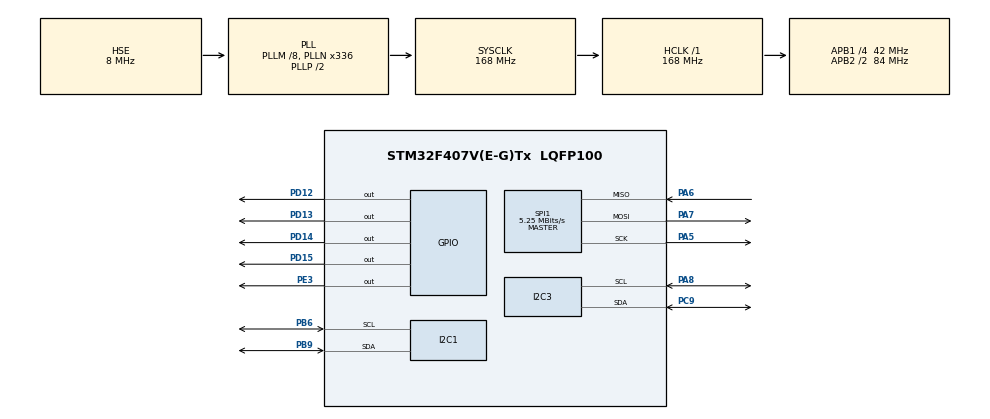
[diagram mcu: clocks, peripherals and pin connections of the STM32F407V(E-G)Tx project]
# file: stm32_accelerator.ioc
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Mcu.Family=STM32F4
Mcu.Name=STM32F407V(E-G)Tx
Mcu.Package=LQFP100
NVIC.PriorityGroup=NVIC_PRIORITYGROUP_4
PA5.Mode=Full_Duplex_Master
PA5.Signal=SPI1_SCK
PA6.Mode=Full_Duplex_Master
PA6.Signal=SPI1_MISO
PA7.Mode=Full_Duplex_Master
PA7.Signal=SPI1_MOSI
PA8.Mode=I2C
PA8.Signal=I2C3_SCL
PB6.Mode=I2C
PB6.Signal=I2C1_SCL
PB9.Mode=I2C
PB9.Signal=I2C1_SDA
PC9.Mode=I2C
PC9.Signal=I2C3_SDA
PD12.Signal=GPIO_Output
PD13.Signal=GPIO_Output
PD14.Signal=GPIO_Output
PD15.Signal=GPIO_Output
PE3.PinState=GPIO_PIN_SET
PE3.Signal=GPIO_Output
PH0-OSC_IN.Mode=HSE-External-Oscillator
PH0-OSC_IN.Signal=RCC_OSC_IN
PH1-OSC_OUT.Mode=HSE-External-Oscillator
PH1-OSC_OUT.Signal=RCC_OSC_OUT
ProjectManager.HeapSize=0x200
ProjectManager.StackSize=0x400
ProjectManager.TargetToolchain=STM32CubeIDE
RCC.48MHZClocksFreq_Value=84000000
RCC.AHBFreq_Value=168000000
RCC.APB1CLKDivider=RCC_HCLK_DIV4
RCC.APB1Freq_Value=42000000
RCC.APB1TimFreq_Value=84000000
RCC.APB2CLKDivider=RCC_HCLK_DIV2
RCC.APB2Freq_Value=84000000
RCC.APB2TimFreq_Value=168000000
RCC.CortexFreq_Value=168000000
RCC.HCLKFreq_Value=168000000
RCC.HSE_VALUE=8000000
RCC.HSI_VALUE=16000000
RCC.LSE_VALUE=32768
RCC.PLLM=8
RCC.PLLN=336
RCC.PLLSourceVirtual=RCC_PLLSOURCE_HSE
RCC.SYSCLKFreq_VALUE=168000000
RCC.SYSCLKSource=RCC_SYSCLKSOURCE_PLLCLK
RCC.VCOOutputFreq_Value=336000000
SPI1.BaudRatePrescaler=SPI_BAUDRATEPRESCALER_16
SPI1.CalculateBaudRate=5.25 MBits/s
SPI1.Direction=SPI_DIRECTION_2LINES
SPI1.Mode=SPI_MODE_MASTER
SPI1.VirtualType=VM_MASTER
board=custom

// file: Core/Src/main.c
/* USER CODE BEGIN Header */
/**
  ******************************************************************************
  * @file           : main.c
  * @brief          : Main program body
  ******************************************************************************
  * @attention
  *
  * Copyright (c) 2022 STMicroelectronics.
  * All rights reserved.
  *
  * This software is licensed under terms that can be found in the LICENSE file
  * in the root directory of this software component.
  * If no LICENSE file comes with this software, it is provided AS-IS.
  *
  ******************************************************************************
  */
/* USER CODE END Header */
#include "main.h"

/* USER CODE BEGIN PD */
#define XM_Tx			0
#define XM_TxRx			1
#define XM_Timeout		10
#define dummy           0xFF
#define NSS_DISABLE()   (GPIOE->ODR |= 0x0008)
#define NSS_ENABLE()    (GPIOE->ODR &= 0xFFF7)
#define MAX_TICK		30000
#define DS1307_ADDR		0xD0
#define DS1307_Timeout	10
#define DS3231_ADDR		0xD0
#define DS3231_Timeout	10
#define RTC_REG_SEC  0x00
#define RTC_REG_MIN  0x01
#define RTC_REG_HOUR 0x02
#define RTC_REG_WEEK 0x03
#define RTC_REG_DAY  0x04
#define RTC_REG_MON  0x05
#define RTC_REG_YEAR 0x06
#define RTC_ALARM    0x0A
#define RTC_24       0x40
/* USER CODE END PD */

I2C_HandleTypeDef hi2c1;
I2C_HandleTypeDef hi2c3;

SPI_HandleTypeDef hspi1;

/* USER CODE BEGIN PV */
uint8_t uMin = 0;
uint8_t uSec = 0;

/* USER CODE END PV */

void SystemClock_Config(void);
static void MX_GPIO_Init(void);
static void MX_SPI1_Init(void);
static void MX_I2C3_Init(void);
static void MX_I2C1_Init(void);
/* USER CODE BEGIN PFP */
uint8_t xmeet(uint8_t data, int read, uint32_t timeout);
uint8_t read_reg(uint8_t addr);
void write_reg(uint8_t addr, uint8_t data);
uint8_t ds1307_read(uint8_t addr);
void ds1307_write(uint8_t addr, uint8_t data);
uint8_t ds3231_read(uint8_t addr);
void ds3231_write(uint8_t addr, uint8_t data);
uint8_t bcd2dec(uint8_t);
uint8_t dec2bcd(uint8_t);
void set_time(int y, int m, int d, int h, int min, int s);
void set_alarm(int h, int m);
int8_t check_alarm();
/* USER CODE END PFP */

int main(void)
{
  /* USER CODE BEGIN 1 */
  uint8_t chipId = 0;
  uint16_t led3cnt = 0;
  uint16_t led4cnt = 0;
  uint16_t led5cnt = 0;
  uint16_t led6cnt = 0;
  uint16_t led3tm = 0;
  uint16_t led4tm = 0;
  uint16_t led5tm = 0;
  uint16_t led6tm = 0;
//  uint8_t accX = 0;
//  uint8_t accY = 0;
//  uint8_t delim = MAX_TICK / 127;

  /* USER CODE END 1 */

  /* MCU Configuration--------------------------------------------------------*/

  /* Reset of all peripherals, Initializes the Flash interface and the Systick. */
  HAL_Init();

  /* Configure the system clock */
  SystemClock_Config();

  /* Initialize all configured peripherals */
  MX_GPIO_Init();
  MX_SPI1_Init();
  MX_I2C3_Init();
  MX_I2C1_Init();
  /* USER CODE BEGIN 2 */

  chipId = read_reg(0x0F); // WHO_AM_I register;
//  write_reg(0x20, 0x47); // PD + Zen + Yen + Xen

  set_time(2022, 9, 1, 9, 0, 0);
  set_alarm(9, 1);

  /* USER CODE END 2 */

  /* Infinite loop */
  /* USER CODE BEGIN WHILE */
  while (1)
  {
	    if(++led3cnt > MAX_TICK) led3cnt = 0;
	    if(++led4cnt > MAX_TICK) led4cnt = 0;
	    if(++led5cnt > MAX_TICK) led5cnt = 0;
	    if(++led6cnt > MAX_TICK) led6cnt = 0;

	    if(check_alarm()) {
	    	led3tm = 20000;
	    	led6tm = 20000;
	    }

	    uMin = bcd2dec(ds3231_read(RTC_REG_MIN));
	    uSec = bcd2dec(ds3231_read(RTC_REG_SEC));
	    HAL_Delay(100);

//	    accX = read_reg(0x29);
//	    accY = read_reg(0x2B);
//	    // accZ = read_reg(0x2D);
//
//	    if(accX > 0 && accX < 255) {
//	    	if(accX < 128) {
//	    		led3tm = delim * accX;
//	    		led6tm = 0;
//	    	} else {
//	    		led6tm = delim * (accX - 127);
//	    		led3tm = 0;
//	    	}
//	    } else {
//	    	led6tm = 0;
//	    	led3tm = 0;
//	    }
//
//	    if(accY > 0 && accY < 255) {
//	    	if(accY < 128) {
//	    		led4tm = delim * accY;
//	    		led5tm = 0;
//	    	} else {
//	    		led5tm = delim * (accY - 127);
//	    		led4tm = 0;
//	    	}
//	    } else {
//	    	led4tm = 0;
//	    	led5tm = 0;
//	    }

	    // LD3
	    if(led3cnt == 0) {
	      GPIOD->ODR |= 0x2000;
	    } else if(led3cnt > led3tm) {
	      GPIOD->ODR &= ~0x2000;
	    }
	    // LD4
	    if(led4cnt == 0) {
	      GPIOD->ODR |= 0x1000;
	    } else if(led4cnt > led4tm) {
	      GPIOD->ODR &= ~0x1000;
	    }
	    // LD5
	    if(led5cnt == 0) {
	      GPIOD->ODR |= 0x4000;
	    } else if(led5cnt > led5tm) {
	      GPIOD->ODR &= ~0x4000;
	    }
	    // LD5
	    if(led6cnt == 0) {
	      GPIOD->ODR |= 0x8000;
	    } else if(led6cnt > led6tm) {
	      GPIOD->ODR &= ~0x8000;
	    }
    /* USER CODE END WHILE */

    /* USER CODE BEGIN 3 */
  }
  return 0;
  /* USER CODE END 3 */
}

void SystemClock_Config(void)
{
  RCC_OscInitTypeDef RCC_OscInitStruct = {0};
  RCC_ClkInitTypeDef RCC_ClkInitStruct = {0};

  /** Configure the main internal regulator output voltage
  */
  __HAL_RCC_PWR_CLK_ENABLE();
  __HAL_PWR_VOLTAGESCALING_CONFIG(PWR_REGULATOR_VOLTAGE_SCALE1);

  /** Initializes the RCC Oscillators according to the specified parameters
  * in the RCC_OscInitTypeDef structure.
  */
  RCC_OscInitStruct.OscillatorType = RCC_OSCILLATORTYPE_HSE;
  RCC_OscInitStruct.HSEState = RCC_HSE_ON;
  RCC_OscInitStruct.PLL.PLLState = RCC_PLL_ON;
  RCC_OscInitStruct.PLL.PLLSource = RCC_PLLSOURCE_HSE;
  RCC_OscInitStruct.PLL.PLLM = 8;
  RCC_OscInitStruct.PLL.PLLN = 336;
  RCC_OscInitStruct.PLL.PLLP = RCC_PLLP_DIV2;
  RCC_OscInitStruct.PLL.PLLQ = 4;
  if (HAL_RCC_OscConfig(&RCC_OscInitStruct) != HAL_OK)
  {
    Error_Handler();
  }

  /** Initializes the CPU, AHB and APB buses clocks
  */
  RCC_ClkInitStruct.ClockType = RCC_CLOCKTYPE_HCLK|RCC_CLOCKTYPE_SYSCLK
                              |RCC_CLOCKTYPE_PCLK1|RCC_CLOCKTYPE_PCLK2;
  RCC_ClkInitStruct.SYSCLKSource = RCC_SYSCLKSOURCE_PLLCLK;
  RCC_ClkInitStruct.AHBCLKDivider = RCC_SYSCLK_DIV1;
  RCC_ClkInitStruct.APB1CLKDivider = RCC_HCLK_DIV4;
  RCC_ClkInitStruct.APB2CLKDivider = RCC_HCLK_DIV2;

  if (HAL_RCC_ClockConfig(&RCC_ClkInitStruct, FLASH_LATENCY_5) != HAL_OK)
  {
    Error_Handler();
  }
}

static void MX_I2C1_Init(void)
{

  hi2c1.Instance = I2C1;
  hi2c1.Init.ClockSpeed = 100000;
  hi2c1.Init.DutyCycle = I2C_DUTYCYCLE_2;
  hi2c1.Init.OwnAddress1 = 0;
  hi2c1.Init.AddressingMode = I2C_ADDRESSINGMODE_7BIT;
  hi2c1.Init.DualAddressMode = I2C_DUALADDRESS_DISABLE;
  hi2c1.Init.OwnAddress2 = 0;
  hi2c1.Init.GeneralCallMode = I2C_GENERALCALL_DISABLE;
  hi2c1.Init.NoStretchMode = I2C_NOSTRETCH_DISABLE;
  if (HAL_I2C_Init(&hi2c1) != HAL_OK)
  {
    Error_Handler();
  }

}

static void MX_I2C3_Init(void)
{

  hi2c3.Instance = I2C3;
  hi2c3.Init.ClockSpeed = 100000;
  hi2c3.Init.DutyCycle = I2C_DUTYCYCLE_2;
  hi2c3.Init.OwnAddress1 = 0;
  hi2c3.Init.AddressingMode = I2C_ADDRESSINGMODE_7BIT;
  hi2c3.Init.DualAddressMode = I2C_DUALADDRESS_DISABLE;
  hi2c3.Init.OwnAddress2 = 0;
  hi2c3.Init.GeneralCallMode = I2C_GENERALCALL_DISABLE;
  hi2c3.Init.NoStretchMode = I2C_NOSTRETCH_DISABLE;
  if (HAL_I2C_Init(&hi2c3) != HAL_OK)
  {
    Error_Handler();
  }

}

static void MX_SPI1_Init(void)
{

  /* SPI1 parameter configuration*/
  hspi1.Instance = SPI1;
  hspi1.Init.Mode = SPI_MODE_MASTER;
  hspi1.Init.Direction = SPI_DIRECTION_2LINES;
  hspi1.Init.DataSize = SPI_DATASIZE_8BIT;
  hspi1.Init.CLKPolarity = SPI_POLARITY_LOW;
  hspi1.Init.CLKPhase = SPI_PHASE_1EDGE;
  hspi1.Init.NSS = SPI_NSS_SOFT;
  hspi1.Init.BaudRatePrescaler = SPI_BAUDRATEPRESCALER_16;
  hspi1.Init.FirstBit = SPI_FIRSTBIT_MSB;
  hspi1.Init.TIMode = SPI_TIMODE_DISABLE;
  hspi1.Init.CRCCalculation = SPI_CRCCALCULATION_DISABLE;
  hspi1.Init.CRCPolynomial = 10;
  if (HAL_SPI_Init(&hspi1) != HAL_OK)
  {
    Error_Handler();
  }
  /* USER CODE BEGIN SPI1_Init 2 */
  SPI1->CR1 |= SPI_CR1_SPE;
  /* USER CODE END SPI1_Init 2 */

}

static void MX_GPIO_Init(void)
{
  GPIO_InitTypeDef GPIO_InitStruct = {0};

  /* GPIO Ports Clock Enable */
  __HAL_RCC_GPIOE_CLK_ENABLE();
  __HAL_RCC_GPIOH_CLK_ENABLE();
  __HAL_RCC_GPIOA_CLK_ENABLE();
  __HAL_RCC_GPIOD_CLK_ENABLE();
  __HAL_RCC_GPIOC_CLK_ENABLE();
  __HAL_RCC_GPIOB_CLK_ENABLE();

  /*Configure GPIO pin Output Level */
  HAL_GPIO_WritePin(GPIOE, GPIO_PIN_3, GPIO_PIN_SET);

  /*Configure GPIO pin Output Level */
  HAL_GPIO_WritePin(GPIOD, GPIO_PIN_12|GPIO_PIN_13|GPIO_PIN_14|GPIO_PIN_15, GPIO_PIN_RESET);

  /*Configure GPIO pin : PE3 */
  GPIO_InitStruct.Pin = GPIO_PIN_3;
  GPIO_InitStruct.Mode = GPIO_MODE_OUTPUT_PP;
  GPIO_InitStruct.Pull = GPIO_NOPULL;
  GPIO_InitStruct.Speed = GPIO_SPEED_FREQ_LOW;
  HAL_GPIO_Init(GPIOE, &GPIO_InitStruct);

  /*Configure GPIO pins : PD12 PD13 PD14 PD15 */
  GPIO_InitStruct.Pin = GPIO_PIN_12|GPIO_PIN_13|GPIO_PIN_14|GPIO_PIN_15;
  GPIO_InitStruct.Mode = GPIO_MODE_OUTPUT_PP;
  GPIO_InitStruct.Pull = GPIO_NOPULL;
  GPIO_InitStruct.Speed = GPIO_SPEED_FREQ_LOW;
  HAL_GPIO_Init(GPIOD, &GPIO_InitStruct);

}

/* USER CODE BEGIN 4 */
uint8_t xmeet(uint8_t data, int read, uint32_t timeout)
{
	uint8_t ret = 0;
	uint32_t tickstart = HAL_GetTick();

	(void)SPI1->DR;
	//!!! Only after send first byte!
	while(!(SPI1->SR & SPI_SR_TXE)) // Tx buffer empty flag
	{
		if((HAL_GetTick() - tickstart) > timeout)
		{
			return ret;
		}
	}
	// Send data
	*((__IO uint8_t *)&(SPI1->DR)) = data;

	if( read > XM_Tx )
	{
		while(!(SPI1->SR & SPI_SR_RXNE)) // Receive buffer Not Empty
		{
			if((HAL_GetTick() - tickstart) > timeout)
			{
				return ret;
			}
		}
		ret = (uint8_t)(SPI1->DR);
	}

	while((SPI1->SR & SPI_SR_BSY)) // Busy flag
	{
		if((HAL_GetTick() - tickstart) > timeout)
		{
			break;
		}
	}

	do {
		__IO uint32_t tmpreg_ovr = 0x00U;
		tmpreg_ovr = SPI1->DR;
		tmpreg_ovr = SPI1->SR;
		(void)tmpreg_ovr;
	} while(0U);

	return ret;
}

uint8_t read_reg(uint8_t addr)
{
	uint8_t data = 0;

	addr |= 0x80; // To read data, SET highest bit of address (LIS302DL Datasheet)

	NSS_ENABLE();
	// HAL_SPI_Transmit(&hspi1, &addr, 1, 10);
	// HAL_SPI_TransmitReceive(&hspi1, &empty, &data, 1, 10);
	xmeet(addr, XM_Tx, XM_Timeout);
	data = xmeet(dummy, XM_TxRx, XM_Timeout);
	NSS_DISABLE();

	return data;
}

void write_reg(uint8_t addr, uint8_t data) {
	NSS_ENABLE();
	// HAL_SPI_Transmit(&hspi1, &addr, 1, 10);
	// HAL_SPI_Transmit(&hspi1, &data, 1, 10);
	xmeet(addr, XM_Tx, XM_Timeout);
	xmeet(data, XM_Tx, XM_Timeout);
	NSS_DISABLE();
}

uint8_t ds1307_read(uint8_t addr) {
	uint8_t data = 0;
	HAL_I2C_Master_Transmit(&hi2c3, DS1307_ADDR, &addr, 1, DS1307_Timeout);
	HAL_I2C_Master_Receive(&hi2c3, DS1307_ADDR, &data, 1, DS1307_Timeout);
	return data;
}
void ds1307_write(uint8_t addr, uint8_t data) {
	uint8_t buf[2] = {addr, data};
	HAL_I2C_Master_Transmit(&hi2c3, DS1307_ADDR, &buf, 2, DS1307_Timeout);
}

void i2c1_start() {
  I2C1->CR1 |= I2C_CR1_ACK; // (1<<10);  // Enable the ACK
  I2C1->CR1 |= I2C_CR1_START; // (1<<8);  // Generate START
}

void i2c1_address(uint8_t addr7bit, uint8_t read) {
  uint8_t addr = addr7bit << 1;
  if(read) {
    addr |= 0x1;
  }
  I2C1->DR = addr;  //  send the address
  while (!(I2C1->SR1 & I2C_SR1_ADDR));  // wait for ADDR bit to set (1<<1)
  uint8_t temp = I2C1->SR1 | I2C1->SR2;  // read SR1 and SR2 to clear the ADDR bit
}

uint8_t ds3231_read(uint8_t addr) {
	uint8_t data = 0;
	HAL_I2C_Master_Transmit(&hi2c1, DS3231_ADDR, &addr, 1, DS3231_Timeout);
	HAL_I2C_Master_Receive(&hi2c1, DS3231_ADDR, &data, 1, DS3231_Timeout);
	return data;
}
void ds3231_write(uint8_t addr, uint8_t data) {
	uint8_t buf[2] = {addr, data};
	HAL_I2C_Master_Transmit(&hi2c1, DS3231_ADDR, buf, 2, DS3231_Timeout);
}
uint8_t bcd2dec(uint8_t bcd) {
	uint8_t u = bcd & 0xF;
	uint8_t d = (bcd & 0xF0) >> 4;
	return u + 10 * d;
}
uint8_t dec2bcd(uint8_t dec) {
	uint8_t d = (dec / 10) << 4;
	uint8_t u = dec % 10;
	return d + u;
}
void set_time(int y, int m, int d, int h, int min, int s) {
	ds3231_write(RTC_REG_YEAR, dec2bcd(y % 10));
	ds3231_write(RTC_REG_MON , dec2bcd(m));
	ds3231_write(RTC_REG_DAY , dec2bcd(d));
	ds3231_write(RTC_REG_HOUR, dec2bcd(h));
	ds3231_write(RTC_REG_MIN , dec2bcd(min));
	ds3231_write(RTC_REG_SEC , dec2bcd(s));
}
void set_alarm(int h, int m) {
	ds3231_write(RTC_ALARM + RTC_REG_MIN , dec2bcd(m));
	ds3231_write(RTC_ALARM + RTC_REG_HOUR, dec2bcd(h));
	ds3231_write(RTC_ALARM + RTC_REG_DAY , 0x80);
}
int8_t check_alarm() {
	uint8_t status = ds3231_read(0x0F);
	return (status & 0x2) ? 1 : 0;
}

/* USER CODE END 4 */

void Error_Handler(void)
{
  __disable_irq();
  while (1)
  {
  }
}
